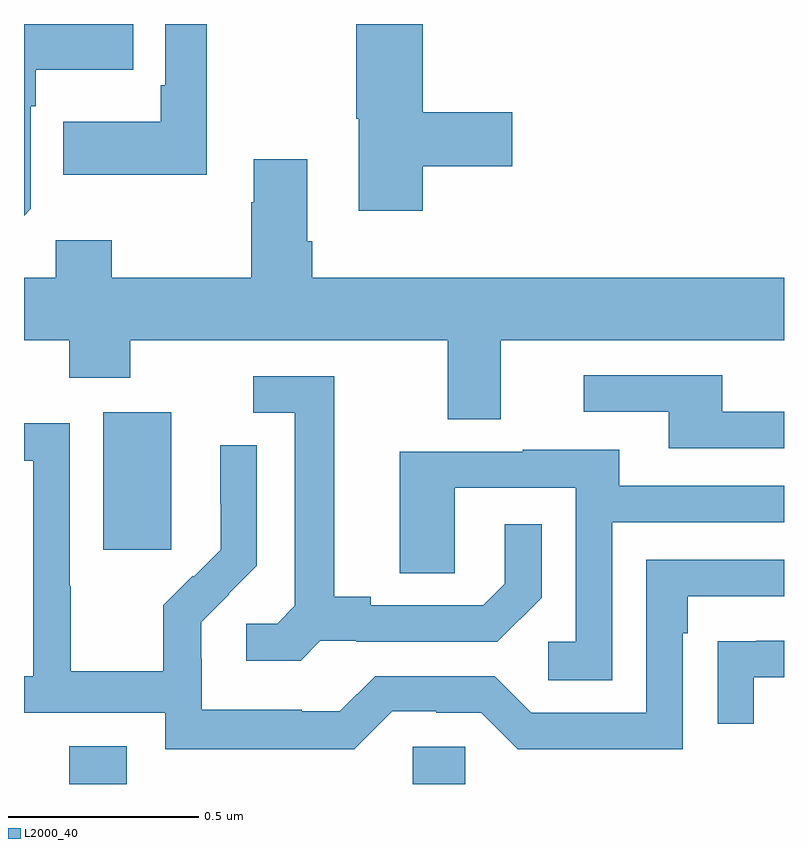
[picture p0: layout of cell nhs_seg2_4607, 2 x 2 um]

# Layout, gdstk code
import gdstk
lib = gdstk.Library(unit=1e-6, precision=1e-09)
def R(c, l, rs):  # rectangles x0, y0, x1, y1
    for r in rs: c.add(gdstk.rectangle(r[:2], r[2:], *l))
def P(c, l, *ps):  # polygons
    for p in ps: c.add(gdstk.Polygon(p, *l))
L2000_40 = (2000, 40)

nhs_seg2_4607 = lib.new_cell('nhs_seg2_4607')
R(nhs_seg2_4607, L2000_40, [(168.119,647.8,168.271,647.899), (169.023,647.8,169.161,647.898), (168.209,648.417,168.388,648.778)])
P(nhs_seg2_4607, L2000_40, [(168.481,649.8),(168.372,649.8),(168.372,649.639),(168.36,649.639),(168.36,649.543),(168.103,649.543),(168.103,649.403),(168.481,649.403)],
  [(169.049,649.426),(169.285,649.426),(169.285,649.568),(169.049,649.568),(169.049,649.8),(168.874,649.8),(168.874,649.551),(168.881,649.551),(168.881,649.308),(169.049,649.308)],
  [(168.018,649.314),(168.018,649.583),(168.031,649.583),(168.031,649.679),(168.287,649.679),(168.287,649.8),(168,649.8),(168,649.296)],
  [(169.255,648.968),(170,648.968),(170,649.132),(168.758,649.132),(168.758,649.228),(168.745,649.228),(168.745,649.444),(168.605,649.444),(168.605,649.331),(168.598,649.331),(168.598,649.132),(168.231,649.132),(168.231,649.231),(168.084,649.231),(168.084,649.132),(168,649.132),(168,648.968),(168.119,648.968),(168.119,648.869),(168.279,648.869),(168.279,648.968),(169.115,648.968),(169.115,648.76),(169.255,648.76)],
  [(170,648.78),(169.837,648.78),(169.837,648.876),(169.473,648.876),(169.473,648.78),(169.697,648.78),(169.697,648.684),(170,648.684)],
  [(168.78,648.177),(168.874,648.177),(168.874,648.174),(169.246,648.174),(169.362,648.29),(169.362,648.484),(169.265,648.484),(169.265,648.327),(169.208,648.27),(168.913,648.27),(168.913,648.293),(168.817,648.293),(168.817,648.873),(168.603,648.873),(168.603,648.777),(168.713,648.777),(168.713,648.269),(168.666,648.222),(168.585,648.222),(168.585,648.125),(168.728,648.125)],
  [(168.969,647.991),(169.085,647.991),(169.085,647.988),(169.203,647.988),(169.299,647.892),(169.734,647.892),(169.734,648.197),(169.747,648.197),(169.747,648.294),(170,648.294),(170,648.39),(169.638,648.39),(169.638,647.988),(169.335,647.988),(169.239,648.084),(168.924,648.084),(168.831,647.991),(168.731,647.991),(168.731,647.995),(168.468,647.995),(168.468,648.129),(168.466,648.129),(168.466,648.226),(168.54,648.3),(168.539,648.301),(168.612,648.374),(168.612,648.692),(168.516,648.692),(168.516,648.538),(168.518,648.538),(168.518,648.416),(168.447,648.345),(168.444,648.348),(168.367,648.271),(168.367,648.097),(168.123,648.097),(168.123,648.32),(168.12,648.32),(168.12,648.75),(168,648.75),(168,648.651),(168.024,648.651),(168.024,648.084),(168,648.084),(168,647.988),(168.372,647.988),(168.372,647.891),(168.869,647.891)],
  [(169.548,648.489),(170,648.489),(170,648.585),(169.567,648.585),(169.567,648.679),(169.313,648.679),(169.313,648.675),(168.989,648.675),(168.989,648.355),(169.134,648.355),(169.134,648.579),(169.452,648.579),(169.452,648.174),(169.38,648.174),(169.38,648.073),(169.548,648.073)],
  [(169.921,648.081),(170,648.081),(170,648.177),(169.927,648.177),(169.927,648.176),(169.825,648.176),(169.825,647.958),(169.921,647.958)])

lib.write_gds('nhs_seg2_4607.gds')
